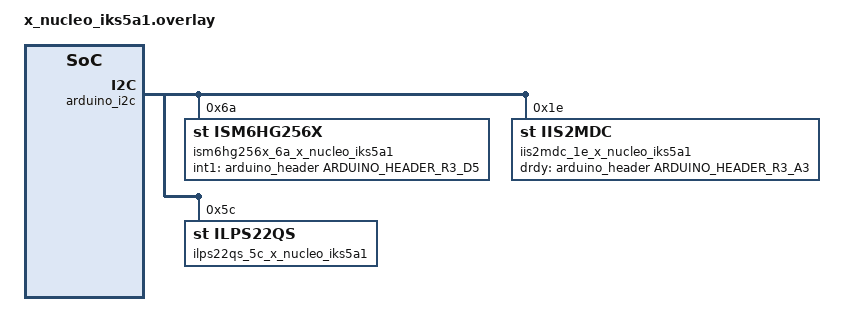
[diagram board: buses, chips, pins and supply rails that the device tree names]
/*
 * Copyright (c) 2026 STMicroelectronics
 *
 * SPDX-License-Identifier: Apache-2.0
 */

#include <zephyr/dt-bindings/gpio/arduino-header-r3.h>

/ {
	aliases {
		accel0 = &ism6hg256x_6a_x_nucleo_iks5a1;
		magn0 = &iis2mdc_1e_x_nucleo_iks5a1;
		pressure-sensor = &ilps22qs_5c_x_nucleo_iks5a1;
	};
};

&arduino_i2c {
	ism6hg256x_6a_x_nucleo_iks5a1: ism6hg256x@6a {
		compatible = "st,ism6hg256x";
		reg = <0x6a>;

		int1-gpios = <&arduino_header ARDUINO_HEADER_R3_D5 GPIO_ACTIVE_HIGH>;
		drdy-pin = <1>;
	};

	iis2mdc_1e_x_nucleo_iks5a1: iis2mdc@1e {
		compatible = "st,iis2mdc";
		reg = <0x1e>;
		drdy-gpios = <&arduino_header ARDUINO_HEADER_R3_A3 GPIO_ACTIVE_HIGH>;
	};

	ilps22qs_5c_x_nucleo_iks5a1: ilps22qs@5c {
		compatible = "st,ilps22qs";
		reg = <0x5c>;
	};
};
